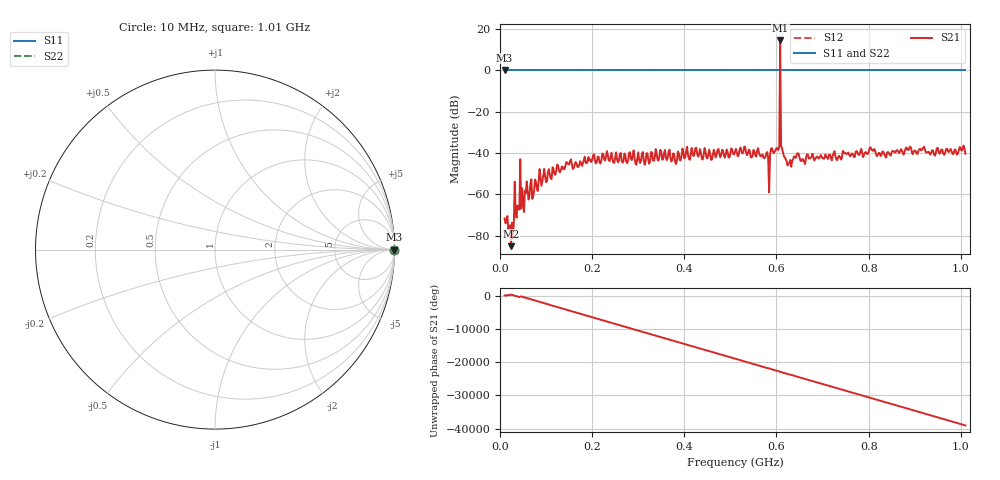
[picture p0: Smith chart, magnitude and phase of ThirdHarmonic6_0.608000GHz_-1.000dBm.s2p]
! 8/15/2025 7:55:02 PM
! C:\ANRITSUVNA\TEMP\TEMP.S2P
! CHANNEL.1
! TR.MEASUREMENT
! RAW.DATA
! RF.CORRECTION.OFF
! AVERAGING.OFF
! IF.BANDWIDTH: 5KHZ
! SWEEPTYPE:  FREQ.SWEEP(Linear)
! Reference Plane Port Info
! PORT:  PORT1  PORT2
! DISTANCE:  0  m  0  m
! TIME:  0  s  0  s
! PHASE.OFFSET:  0  deg.  0  deg.
! LOSS:  0  dB  0  dB
! REF.LOSS:  0  dB  0  dB
! REF.FREQ:  0  Hz  0  Hz
! Power Info
! POWER:  -20  dBm  -20  dBm
! EFF.POWER:  -20  dBm  -20  dBm
! SOURCE.ATTEN:  0  dB  0  dB
! TEST.ATTEN:  0  dB  0  dB
# GHZ S RI R 50.0
! FREQ.GHZ  S11RE  S11IM  S21RE  S21IM  S12RE  S12IM  S22RE  S22IM
!; PortSelection: Port_12
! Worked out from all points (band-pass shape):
!   501 points, 10 MHz to 1.01 GHz, reference 50 ohm
!   highest |S21| = 14.30 dB at 608 MHz (marker M1); lowest = -85.0 dB at 24 MHz (marker M2)
!   |S21| within 3 dB of the highest: 607.8831 MHz to 608.1176 MHz (234.5 kHz wide, 0.0386 % of centre)
!   lowest |S11| = 0.0 dB at 10 MHz (marker M3)
!   |S11| at or under -10 dB: nowhere
!   |S22| runs from 0.0 to 0.0 dB; largest |S21 - S12| = 5.8
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0.01  1 0  -6.84e-05 0.000255  1 0  1 0
0.024  1 0  5.51e-05 -1.12e-05  1 0  1 0
0.046  1 0  -0.000445 6.55e-05  1 0  1 0
0.05  1 0  0.000499 -0.000411  1 0  1 0
0.09  1 0  -0.0012 0.00106  1 0  1 0
0.178  1 0  -0.00485 0.000289  1 0  1 0
0.344  1 0  0.00559 -0.00333  1 0  1 0
0.51  1 0  -0.00746 0.00784  1 0  1 0
0.562  1 0  -0.0102 0.00132  1 0  1 0
0.578  1 0  0.00208 -0.00958  1 0  1 0
0.58  1 0  -0.0104 -0.00177  1 0  1 0
0.602  1 0  0.0122 0.00403  1 0  1 0
0.604  1 0  0.00572 -0.0103  1 0  1 0
0.608  1 0  -3.076 4.175  1 0  1 0
0.612  1 0  0.00545 -0.0119  1 0  1 0
0.614  1 0  -0.00852 -0.0058  1 0  1 0
0.628  1 0  0.00354 0.00461  1 0  1 0
0.644  1 0  -0.00627 0.00657  1 0  1 0
0.678  1 0  -0.00862 -0.00415  1 0  1 0
0.806  1 0  -0.0016 0.0121  1 0  1 0
0.844  1 0  0.00971 0.00198  1 0  1 0
1.01  1 0  -0.0089 0.00353  1 0  1 0
